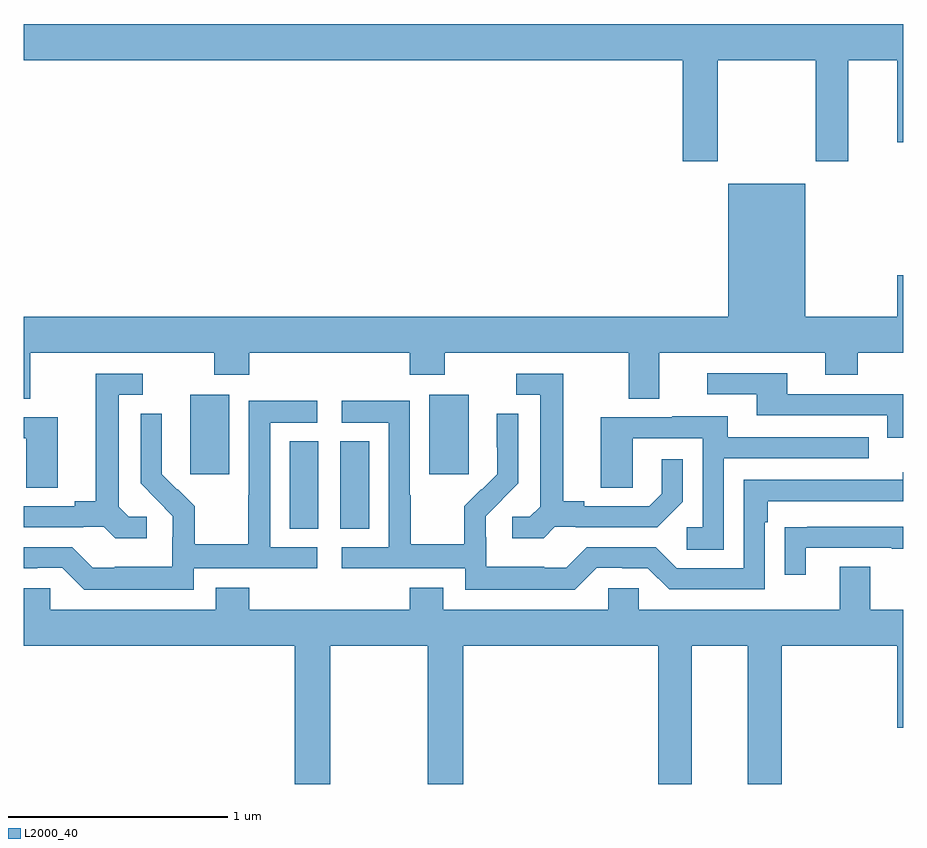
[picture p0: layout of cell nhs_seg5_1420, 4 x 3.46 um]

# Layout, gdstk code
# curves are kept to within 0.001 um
import gdstk
lib = gdstk.Library(unit=1e-6, precision=1e-09)
def R(c, l, rs):  # rectangles x0, y0, x1, y1
    for r in rs: c.add(gdstk.rectangle(r[:2], r[2:], *l))
def P(c, l, *ps):  # polygons
    for p in ps: c.add(gdstk.Polygon(p, *l))
L2000_40 = (2000, 40)

nhs_seg5_1420 = lib.new_cell('nhs_seg5_1420')
R(nhs_seg5_1420, L2000_40, [(198.209,855.961,198.34,856.358), (198.44,855.961,198.571,856.358), (197.756,856.209,197.935,856.57), (198.845,856.209,199.024,856.57)])
P(nhs_seg5_1420, L2000_40, [(200.157,858.092),(200.602,858.092),(200.602,857.631),(200.749,857.631),(200.749,858.092),(200.972,858.092),(200.972,857.718),(201,857.718),(201,858.256),(197,858.256),(197,858.092),(199.997,858.092),(199.997,857.631),(200.157,857.631)],
  [(197.029,856.76),(197.866,856.76),(197.866,856.661),(198.026,856.661),(198.026,856.76),(198.755,856.76),(198.755,856.661),(198.915,856.661),(198.915,856.76),(199.751,856.76),(199.751,856.552),(199.891,856.552),(199.891,856.76),(200.645,856.76),(200.645,856.661),(200.793,856.661),(200.793,856.76),(201,856.76),(201,857.113),(200.972,857.113),(200.972,856.924),(200.554,856.924),(200.554,857.53),(200.204,857.53),(200.204,856.924),(197,856.924),(197,856.552),(197.029,856.552)],
  [(201,856.572),(200.473,856.572),(200.473,856.668),(200.109,856.668),(200.109,856.572),(200.333,856.572),(200.333,856.476),(200.928,856.476),(200.928,856.373),(201,856.373)],
  [(199.416,855.969),(199.51,855.969),(199.51,855.966),(199.882,855.966),(199.998,856.082),(199.998,856.276),(199.901,856.276),(199.901,856.119),(199.844,856.062),(199.549,856.062),(199.549,856.085),(199.453,856.085),(199.453,856.665),(199.239,856.665),(199.239,856.569),(199.349,856.569),(199.349,856.061),(199.302,856.014),(199.221,856.014),(199.221,855.917),(199.364,855.917)],
  [(197.56,856.014),(197.478,856.014),(197.431,856.061),(197.431,856.569),(197.542,856.569),(197.542,856.665),(197.327,856.665),(197.327,856.085),(197.231,856.085),(197.231,856.062),(197,856.062),(197,855.966),(197.27,855.966),(197.27,855.969),(197.364,855.969),(197.416,855.917),(197.56,855.917)],
  [(199.605,855.783),(199.721,855.783),(199.721,855.78),(199.839,855.78),(199.935,855.684),(200.37,855.684),(200.37,855.989),(200.383,855.989),(200.383,856.086),(201,856.086),(201,856.216),(200.999,856.182),(200.274,856.182),(200.274,855.78),(199.971,855.78),(199.875,855.876),(199.56,855.876),(199.467,855.783),(199.367,855.783),(199.367,855.787),(199.104,855.787),(199.104,855.921),(199.102,855.921),(199.102,856.018),(199.248,856.166),(199.248,856.484),(199.152,856.484),(199.152,856.33),(199.154,856.33),(199.154,856.208),(199.083,856.137),(199.08,856.14),(199.003,856.063),(199.003,855.889),(198.759,855.889),(198.759,856.112),(198.756,856.112),(198.756,856.542),(198.447,856.542),(198.447,856.443),(198.66,856.443),(198.66,855.876),(198.447,855.876),(198.447,855.78),(199.008,855.78),(199.008,855.683),(199.505,855.683)],
  [(197.772,855.78),(198.334,855.78),(198.334,855.876),(198.12,855.876),(198.12,856.443),(198.334,856.443),(198.334,856.542),(198.024,856.542),(198.024,856.112),(198.022,856.112),(198.022,855.889),(197.777,855.889),(197.777,856.063),(197.7,856.14),(197.697,856.137),(197.627,856.208),(197.628,856.484),(197.532,856.484),(197.532,856.166),(197.678,856.018),(197.678,855.921),(197.676,855.921),(197.676,855.787),(197.413,855.787),(197.413,855.783),(197.313,855.783),(197.22,855.876),(197,855.876),(197,855.78),(197.06,855.78),(197.06,855.783),(197.175,855.783),(197.275,855.683),(197.772,855.683)],
  [(200.184,856.281),(200.843,856.281),(200.843,856.377),(200.203,856.377),(200.203,856.471),(199.949,856.471),(199.949,856.467),(199.625,856.467),(199.625,856.147),(199.77,856.147),(199.77,856.371),(200.088,856.371),(200.088,855.966),(200.016,855.966),(200.016,855.865),(200.184,855.865)],
  [(197.155,856.467),(197,856.467),(197,856.371),(197.01,856.371),(197.01,856.147),(197.155,856.147)],
  [(200.557,855.873),(200.947,855.873),(200.947,855.868),(201,855.868),(201,855.969),(200.563,855.969),(200.563,855.968),(200.461,855.968),(200.461,855.75),(200.557,855.75)],
  [(198.393,855.428),(198.838,855.428),(198.838,854.799),(198.998,854.799),(198.998,855.428),(199.886,855.428),(199.886,854.799),(200.038,854.799),(200.038,855.428),(200.294,855.428),(200.294,854.799),(200.447,854.799),(200.447,855.428),(200.972,855.428),(200.972,855.054),(201,855.054),(201,855.592),(200.851,855.592),(200.851,855.787),(200.711,855.787),(200.711,855.592),(199.797,855.592),(199.797,855.69),(199.659,855.69),(199.659,855.592),(198.907,855.592),(198.907,855.691),(198.755,855.691),(198.755,855.592),(198.026,855.592),(198.026,855.691),(197.873,855.691),(197.873,855.592),(197.121,855.592),(197.121,855.69),(197,855.69),(197,855.428),(198.233,855.428),(198.233,854.799),(198.393,854.799)])

lib.write_gds('nhs_seg5_1420.gds')
